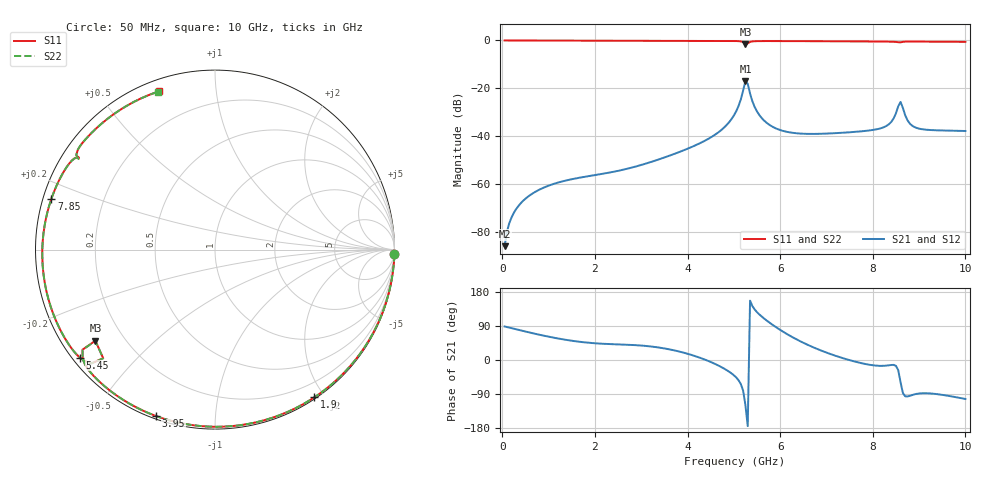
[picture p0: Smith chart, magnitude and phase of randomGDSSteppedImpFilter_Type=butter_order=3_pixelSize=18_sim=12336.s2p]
! freq	dB(S11)	phase(S11)	dB(S12)	phase(S12)
!  dB(S21)	phase(S21)	dB(S22)	phase(S22)
!S-par simulation data
#  GHz  S  DB  R 50
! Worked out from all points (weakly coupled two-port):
!   200 points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, 50 MHz to 10 GHz, reference 50 ohm
!   highest |S21| = -16.94 dB at 5.25 GHz (marker M1); lowest = -85.7 dB at 50 MHz (marker M2)
!   lowest |S11| = -1.5 dB at 5.25 GHz (marker M3), VSWR 11.32, Z = 4.91 - j16.7 ohm
!   |S11| at or under -10 dB: nowhere
!   |S22| runs from -1.5 to 0.0 dB; largest |S21 - S12| = 0
!   S11 on the Smith chart (normalised r, x): 50 MHz: 0, -75; 1.9 GHz: 0.02, -1.88; 3.95 GHz: 0.01, -0.71; 5.45 GHz: 0.02, -0.35; 7.85 GHz: 0.02, +0.15; 10 GHz: 0.05, +0.70
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0.05  -0.00 -1.5  -85.73 88.4  -85.73 88.4  -0.00 -1.5
0.1  -0.00 -3.1  -79.72 86.9  -79.72 86.9  -0.00 -3.1
0.3  -0.01 -9.1  -70.24 80.9  -70.24 80.9  -0.01 -9.1
0.6  -0.02 -18.2  -64.45 72.2  -64.45 72.2  -0.02 -18.2
1.75  -0.06 -51.8  -56.91 46.9  -56.91 46.9  -0.06 -51.8
1.9  -0.07 -56.1  -56.42 45.1  -56.42 45.1  -0.07 -56.1
3.4  -0.12 -95.9  -49.44 32.6  -49.44 32.6  -0.12 -95.9
3.95  -0.14 -109.5  -45.52 18.2  -45.52 18.2  -0.14 -109.4
4.65  -0.18 -126.3  -38.52 -13.6  -38.52 -13.6  -0.18 -126.3
5.05  -0.25 -136.8  -29.54 -46.0  -29.54 -46.0  -0.25 -136.7
5.25  -1.54 -142.7  -16.94 -119.1  -16.94 -119.1  -1.53 -142.6
5.3  -1.22 -135.8  -18.06 -174.4  -18.06 -174.4  -1.22 -135.8
5.45  -0.32 -141.4  -27.73 133.3  -27.73 133.3  -0.32 -141.3
5.65  -0.26 -147.0  -33.32 109.7  -33.32 109.7  -0.26 -147.0
5.9  -0.26 -153.0  -36.58 87.5  -36.58 87.5  -0.26 -153.0
6.7  -0.30 -171.1  -38.95 34.3  -38.95 34.3  -0.30 -171.0
7.85  -0.40 162.7  -37.68 -10.8  -37.68 -10.8  -0.40 162.8
8.35  -0.49 150.7  -34.89 -14.0  -34.89 -14.0  -0.49 150.9
8.6  -0.80 146.3  -25.63 -58.5  -25.63 -58.5  -0.79 146.4
8.75  -0.47 142.4  -33.27 -96.3  -33.27 -96.3  -0.47 142.6
8.9  -0.47 138.3  -36.08 -90.7  -36.08 -90.7  -0.47 138.5
10  -0.58 109.6  -37.74 -102.9  -37.74 -102.9  -0.58 109.8
